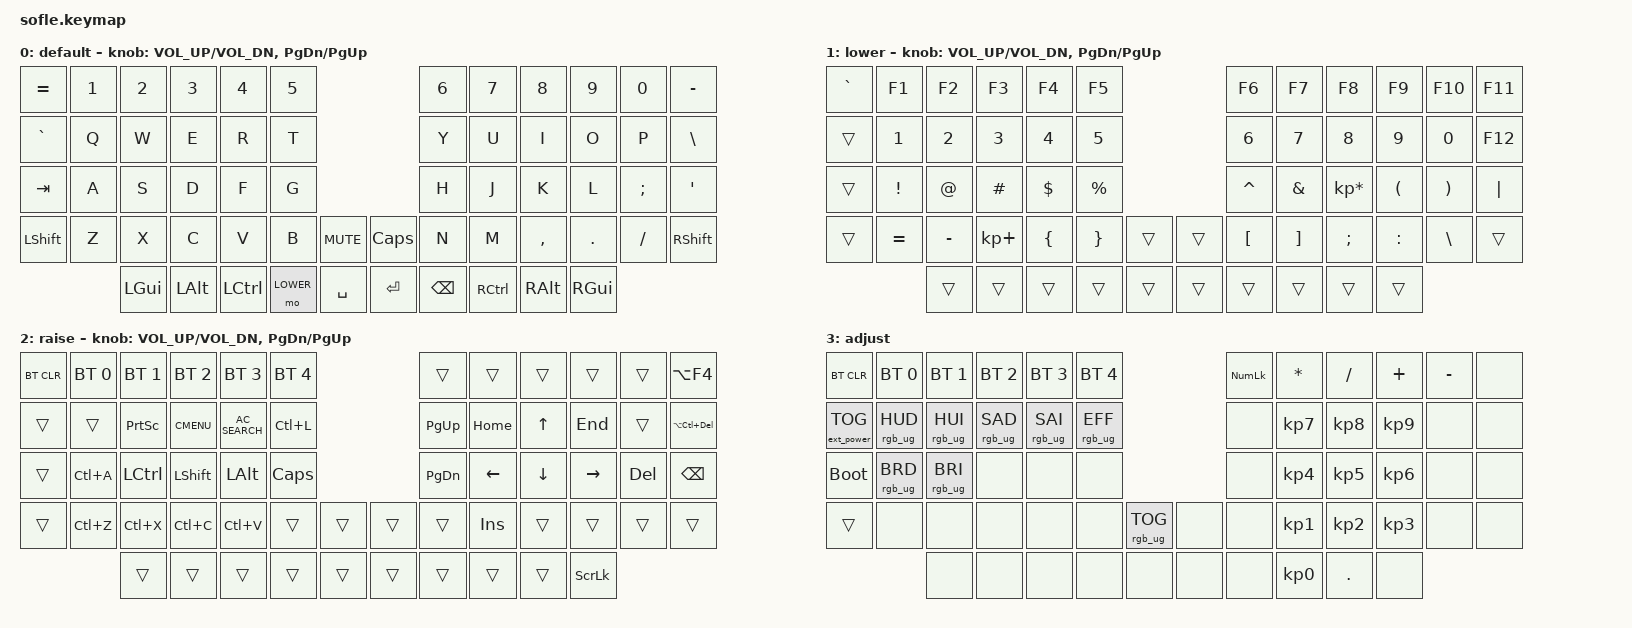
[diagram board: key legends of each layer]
/*
 * Copyright (c) 2020 The ZMK Contributors
 *
 * SPDX-License-Identifier: MIT
 */

#include <behaviors.dtsi>
#include <dt-bindings/zmk/bt.h>
#include <dt-bindings/zmk/ext_power.h>
#include <dt-bindings/zmk/keys.h>
#include <dt-bindings/zmk/rgb.h>

#define BASE 0
#define LOWER 1
#define RAISE 2
#define ADJUST 3

/ {
    // Activate ADJUST layer by pressing raise and lower

    conditional_layers {
        compatible = "zmk,conditional-layers";

        adjust_layer {
            if-layers = <1 2>;
            then-layer = <3>;
        };
    };

    behaviors {
        bht: bht {
            compatible = "zmk,behavior-hold-tap";
            label = "BHT";
            bindings = <&mo>, <&kp>;

            #binding-cells = <2>;
            tapping-term-ms = <200>;
            flavor = "balanced";
        };
    };

    macros {
        CtrlAltDel: CtrlAltDel {
            compatible = "zmk,behavior-macro";
            #binding-cells = <0>;
            bindings = <&kp LS(LA(DEL))>;
            label = "CTRLALTDEL";
        };
    };

    keymap {
        compatible = "zmk,keymap";

        default_layer {
            label = "default";

            // ------------------------------------------------------------------------------------------------------------
            // |   `   |  1  |  2  |  3   |  4   |  5   |                   |  6   |  7    |  8    |  9   |   0   |       |
            // |  ESC  |  Q  |  W  |  E   |  R   |  T   |                   |  Y   |  U    |  I    |  O   |   P   | BKSPC |
            // |  TAB  |  A  |  S  |  D   |  F   |  G   |                   |  H   |  J    |  K    |  L   |   ;   |   '   |
            // | SHIFT |  Z  |  X  |  C   |  V   |  B   |  MUTE  |  |       |  N   |  M    |  ,    |  .   |   /   | SHIFT |
            //               | GUI | ALT  | CTRL | LOWER|  ENTER |  | SPACE | RAISE| CTRL  | ALT   | GUI  |

            bindings = <
&kp EQUAL  &kp N1  &kp N2    &kp N3    &kp N4     &kp N5                              &kp N6         &kp N7             &kp N8     &kp N9    &kp N0    &kp MINUS
&kp GRAVE  &kp Q   &kp W     &kp E     &kp R      &kp T                               &kp Y          &kp U              &kp I      &kp O     &kp P     &kp BACKSLASH
&kp TAB    &kp A   &kp S     &kp D     &kp F      &kp G                               &kp H          &kp J              &kp K      &kp L     &kp SEMI  &kp SQT
&kp LSHFT  &kp Z   &kp X     &kp C     &kp V      &kp B      &kp C_MUTE    &kp CLCK   &kp N          &kp M              &kp COMMA  &kp DOT   &kp FSLH  &kp RSHFT
                   &kp LGUI  &kp LALT  &kp LCTRL  &mo LOWER  &kp SPACE     &kp ENTER  &kp BACKSPACE  &kp RIGHT_CONTROL  &kp RALT   &kp RGUI
            >;

            sensor-bindings =
                <&inc_dec_kp C_VOL_UP C_VOL_DN>,
                <&inc_dec_kp PAGE_DOWN PAGE_UP>;
        };

        lower_layer {
            label = "lower";

            // TODO: Some binds are waiting for shifted keycode support.
            // ------------------------------------------------------------------------------------------------------------
            // |       |  F1 |  F2 |  F3  |  F4  |  F5  |                   |  F6  |  F7   |  F8   |  F9  |  F10  |  F11  |
            // |   `   |  1  |  2  |  3   |  4   |  5   |                   |  6   |  7    |  8    |  9   |   0   |  F12  |
            // |       |  !  |  @  |  #   |  $   |  %   |                   |  ^   |  &    |  *    |  (   |   )   |   |   |
            // |       |  =  |  -  |  +   |  {   |  }   |        |  |       |  [   |  ]    |  ;    |  :   |   \   |       |
            //               |     |      |      |      |        |  |       |      |       |       |      |

            bindings = <
&kp GRAVE  &kp F1        &kp F2     &kp F3       &kp F4    &kp F5                       &kp F6     &kp F7    &kp F8           &kp F9     &kp F10   &kp F11
&trans     &kp NUMBER_1  &kp N2     &kp N3       &kp N4    &kp N5                       &kp N6     &kp N7    &kp N8           &kp N9     &kp N0    &kp F12
&trans     &kp EXCL      &kp AT     &kp HASH     &kp DLLR  &kp PRCNT                    &kp CARET  &kp AMPS  &kp KP_MULTIPLY  &kp LPAR   &kp RPAR  &kp PIPE
&trans     &kp EQUAL     &kp MINUS  &kp KP_PLUS  &kp LBRC  &kp RBRC   &trans    &trans  &kp LBKT   &kp RBKT  &kp SEMI         &kp COLON  &kp BSLH  &trans
                         &trans     &trans       &trans    &trans     &trans    &trans  &trans     &trans    &trans           &trans
            >;

            sensor-bindings =
                <&inc_dec_kp C_VOL_UP C_VOL_DN>,
                <&inc_dec_kp PAGE_DOWN PAGE_UP>;
        };

        raise_layer {
            label = "raise";

            // ------------------------------------------------------------------------------------------------------------
            // | BTCLR | BT1  | BT2  |  BT3  |  BT4  |  BT5 |                |      |      |       |      |       |       |
            // |       | INS  | PSCR | GUI   |       |      |                | PGUP |      |   ^   |      |       |       |
            // |       | ALT  | CTRL | SHIFT |       | CAPS |                | PGDN |   <- |   v   |  ->  |  DEL  | BKSPC |
            // |       | UNDO | CUT  | COPY  | PASTE |      |      |  |      |      |      |       |      |       |       |
            //                |      |       |       |      |      |  |      |      |      |       |      |

            bindings = <
&bt BT_CLR  &bt BT_SEL 0  &bt BT_SEL 1  &bt BT_SEL 2  &bt BT_SEL 3     &bt BT_SEL 4                    &trans     &trans    &trans    &trans          &trans   &kp LA(F4)
&trans      &trans        &kp PSCRN     &kp K_CMENU   &kp C_AC_SEARCH  &kp LC(L)                       &kp PG_UP  &kp HOME  &kp UP    &kp END         &trans   &kp LA(LC(DEL))
&trans      &kp LC(A)     &kp LCTRL     &kp LSHFT     &kp LALT         &kp CLCK                        &kp PG_DN  &kp LEFT  &kp DOWN  &kp RIGHT       &kp DEL  &kp BSPC
&trans      &kp LC(Z)     &kp LC(X)     &kp LC(C)     &kp LC(V)        &trans        &trans    &trans  &trans     &kp INS   &trans    &trans          &trans   &trans
                          &trans        &trans        &trans           &trans        &trans    &trans  &trans     &trans    &trans    &kp SCROLLLOCK
            >;

            sensor-bindings =
                <&inc_dec_kp C_VOL_UP C_VOL_DN>,
                <&inc_dec_kp PAGE_DOWN PAGE_UP>;
        };

        adjust_layer {
            // ----------------------------------------------------------------------------------------------------------------------------
            // | BTCLR  |  BT1    |  BT2    |   BT3   |   BT4   |   BT5   |                  |      |      |       |      |       |       |
            // | EXTPWR | RGB_HUD | RGB_HUI | RGB_SAD | RGB_SAI | RGB_EFF |                  |      |      |       |      |       |       |
            // |        | RGB_BRD | RGB_BRI |         |         |         |                  |      |      |       |      |       |       |
            // |        |         |         |         |         |         | RGB_TOG | |      |      |      |       |      |       |       |
            //                    |         |         |         |         |         | |      |      |      |       |      |

            label = "adjust";
            bindings = <
&bt BT_CLR         &bt BT_SEL 0     &bt BT_SEL 1     &bt BT_SEL 2     &bt BT_SEL 3     &bt BT_SEL 4                               &kp KP_NUMLOCK  &kp STAR         &kp SLASH        &kp PLUS         &kp MINUS  &none
&ext_power EP_TOG  &rgb_ug RGB_HUD  &rgb_ug RGB_HUI  &rgb_ug RGB_SAD  &rgb_ug RGB_SAI  &rgb_ug RGB_EFF                            &none           &kp KP_NUMBER_7  &kp KP_NUMBER_8  &kp KP_NUMBER_9  &none      &none
&bootloader        &rgb_ug RGB_BRD  &rgb_ug RGB_BRI  &none            &none            &none                                      &none           &kp KP_NUMBER_4  &kp KP_NUMBER_5  &kp KP_NUMBER_6  &none      &none
&trans             &none            &none            &none            &none            &none            &rgb_ug RGB_TOG    &none  &none           &kp KP_NUMBER_1  &kp KP_NUMBER_2  &kp KP_NUMBER_3  &none      &none
                                    &none            &none            &none            &none            &none              &none  &none           &kp KP_NUMBER_0  &kp DOT          &none
            >;
        };
    };
};
